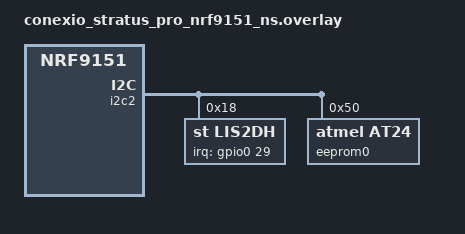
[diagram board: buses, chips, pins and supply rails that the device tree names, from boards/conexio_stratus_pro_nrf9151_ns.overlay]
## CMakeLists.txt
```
# Copyright (c) 2025 Conexio Technologies, Inc
# SPDX-License-Identifier: Apache-2.0

cmake_minimum_required(VERSION 3.20.0)
# Override BOARD_ROOT to always point at this SDK's boards/ directory.
# Using CACHE FORCE ensures this wins over any -DBOARD_ROOT passed by the IDE
# or build system, preventing "board defined multiple times" errors when
# multiple SDK versions are present in the environment.
set(BOARD_ROOT "${CMAKE_CURRENT_SOURCE_DIR}/../../.." CACHE PATH "" FORCE)

find_package(Zephyr HINTS $ENV{ZEPHYR_BASE})
project(i2c_read_write)

target_sources(app PRIVATE src/main.c)
```

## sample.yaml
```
# Copyright (c) 2025 Conexio Technologies, Inc
# SPDX-License-Identifier: Apache-2.0
sample:
  name: I2C Direct Read/Write

common:
  tags: i2c gpio

tests:
  samples.i2c_read_write:
    platform_allow: conexio_stratus_pro_nrf9151_ns
    harness: console
    harness_config:
      type: multi_line
      ordered: true
      regex:
        - "I2C read/write sample"
        - "I2C bus ready"
        - "LIS2DH WHO_AM_I.*0x33"
        - "EEPROM write/read.*PASSED"
```

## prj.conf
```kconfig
#
# Copyright (c) 2025 Conexio Technologies, Inc
#
# SPDX-License-Identifier: Apache-2.0
#

CONFIG_LOG=y
CONFIG_PRINTK=y
CONFIG_I2C=y
CONFIG_GPIO=y

# Enable Zephyr application to be booted by MCUboot
CONFIG_BOOTLOADER_MCUBOOT=y

# TF-M minimal profile (required when not using full TF-M PS/ITS/OTP storage)
CONFIG_TFM_PROFILE_TYPE_MINIMAL=y
```

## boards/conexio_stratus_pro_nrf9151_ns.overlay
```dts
/*
 * Copyright (c) 2025 Conexio Technologies, Inc.
 * Author: Rajeev Piyare <rajeev@conexiotech.com>
 *
 * SPDX-License-Identifier: Apache-2.0
 *
 * Board overlay for Conexio Stratus Pro (nRF9151, Non-Secure).
 *
 * Adds the LIS2DH accelerometer and 24CW160 EEPROM as child nodes of i2c2.
 * i2c2 is already enabled in the board DTSI (status = "okay") with pinctrl
 * and clock-frequency configured (SDA=P0.08, SCL=P0.07, 400 kHz).
 *
 * These nodes are required by I2C_DT_SPEC_GET(DT_NODELABEL(...)) in main.c.
 */


#include <samples/cellular/nrf91_bootloader_partitions.dtsi>
#include <samples/cellular/nrf91_sram_partitions.dtsi>

&i2c2 {
	lis2dh: lis2dh@18 {
		compatible = "st,lis2dh";
		reg = <0x18>;
		irq-gpios = <&gpio0 29 GPIO_ACTIVE_HIGH>;
	};

	eeprom0: eeprom@50 {
		/* Microchip 24CW160 — 2 KiB (16 kbit) EEPROM */
		compatible = "atmel,at24";
		reg = <0x50>;
		size = <DT_SIZE_K(2)>;
		pagesize = <32>;
		address-width = <16>;
		timeout = <5>;
	};
};
```

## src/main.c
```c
/*
 * Copyright (c) 2026 Conexio Technologies, Inc.
 * Author: Rajeev Piyare <rajeev@conexiotech.com>
 *
 * SPDX-License-Identifier: Apache-2.0
 *
 * I2C Direct Read/Write sample for Conexio Stratus Pro (nRF9151)
 *
 * This sample demonstrates the four fundamental I2C operations available
 * in the Zephyr I2C API using two real onboard devices on I2C2:
 *
 *   Bus:  I2C2  (SDA = P0.08, SCL = P0.07, 400 kHz fast mode)
 *
 *   Device 1 — ST LIS2DH accelerometer (address 0x18)
 *     Demonstrates: i2c_write_dt(), i2c_read_dt(), i2c_write_read_dt()
 *     Reads the WHO_AM_I register (0x0F) — always returns 0x33.
 *     Reads the STATUS_REG (0x27) to check for new data.
 *     Reads a burst of 6 raw accelerometer bytes (OUT_X_L..OUT_Z_H).
 *
 *   Device 2 — Microchip 24CW160 EEPROM (address 0x50)
 *     Demonstrates: i2c_write_dt(), i2c_read_dt()
 *     Writes a 4-byte pattern to address 0x0010 and reads it back.
 *
 * API summary (all functions return 0 on success, negative errno on error):
 *
 *   i2c_write_dt(spec, buf, len)
 *     Sends `len` bytes from `buf` to the device. First bytes are typically
 *     a register address followed by data.
 *
 *   i2c_read_dt(spec, buf, len)
 *     Reads `len` bytes from the device into `buf`. The device's internal
 *     pointer must already be positioned (use i2c_write_dt first, or use
 *     i2c_write_read_dt for a combined operation).
 *
 *   i2c_write_read_dt(spec, wbuf, wlen, rbuf, rlen)
 *     Sends `wlen` bytes (typically a register address), then immediately
 *     issues a repeated START and reads `rlen` bytes. This is the most
 *     common pattern for reading a specific register on any I2C sensor.
 *
 *   i2c_transfer_dt(spec, msgs, num_msgs)
 *     Low-level function for building custom multi-message transactions
 *     using struct i2c_msg. Use this when the helper functions above
 *     don't cover your use case.
 */

#include <zephyr/kernel.h>
#include <zephyr/device.h>
#include <zephyr/drivers/i2c.h>
#include <zephyr/sys/printk.h>
#include <zephyr/logging/log.h>
#include <string.h>

LOG_MODULE_REGISTER(i2c_rw, LOG_LEVEL_INF);

/* -----------------------------------------------------------------------
 * I2C bus and device addresses
 * ----------------------------------------------------------------------- */

/* I2C2 bus — defined in board DTSI as &i2c2 */
#define I2C_BUS_NODE   DT_NODELABEL(i2c2)

/* ST LIS2DH accelerometer — I2C address 0x18 */
#define LIS2DH_ADDR    0x18U

/* Microchip 24CW160 EEPROM — I2C address 0x50 */
#define EEPROM_ADDR    0x50U

/* -----------------------------------------------------------------------
 * LIS2DH register map (partial)
 * Datasheet: https://www.st.com/resource/en/datasheet/lis2dh.pdf
 * ----------------------------------------------------------------------- */
#define LIS2DH_WHO_AM_I   0x0FU   /* Identity register, always reads 0x33 */
#define LIS2DH_CTRL_REG1  0x20U   /* ODR and axis enable                   */
#define LIS2DH_STATUS_REG 0x27U   /* Data-ready flags                      */
#define LIS2DH_OUT_X_L    0x28U   /* First of 6 raw output bytes           */

/* WHO_AM_I expected value */
#define LIS2DH_WHO_AM_I_VAL 0x33U

/* CTRL_REG1: 10 Hz ODR, all axes enabled, normal power mode */
#define LIS2DH_CTRL_REG1_VAL 0x27U

/* OUT_X_L with MSB set — auto-increment address for burst read */
#define LIS2DH_OUT_X_L_AUTO  (LIS2DH_OUT_X_L | 0x80U)

/* -----------------------------------------------------------------------
 * EEPROM write address (2-byte addressing for 24CW160)
 * We use page 0, offset 0x10 — safely away from address 0x00.
 * ----------------------------------------------------------------------- */
#define EEPROM_TEST_ADDR_HI  0x00U
#define EEPROM_TEST_ADDR_LO  0x10U

static const struct i2c_dt_spec lis2dh = I2C_DT_SPEC_GET(DT_NODELABEL(lis2dh));
static const struct i2c_dt_spec eeprom  = I2C_DT_SPEC_GET(DT_NODELABEL(eeprom0));

/* -----------------------------------------------------------------------
 * Helper: print a buffer as hex
 * ----------------------------------------------------------------------- */
static void hex_dump(const char *label, const uint8_t *buf, size_t len)
{
	printk("%s:", label);
	for (size_t i = 0; i < len; i++) {
		printk(" %02X", buf[i]);
	}
	printk("\n");
}

/* -----------------------------------------------------------------------
 * Demo 1: i2c_write_read_dt — read a single register
 *
 * This is the most common I2C pattern: write the register address,
 * then read back the value in one combined transaction.
 * ----------------------------------------------------------------------- */
static int demo_read_register(void)
{
	uint8_t reg  = LIS2DH_WHO_AM_I;
	uint8_t val  = 0;

	int ret = i2c_write_read_dt(&lis2dh, &reg, sizeof(reg), &val, sizeof(val));

	if (ret < 0) {
		LOG_ERR("i2c_write_read_dt failed (err %d)", ret);
		return ret;
	}

	LOG_INF("LIS2DH WHO_AM_I = 0x%02X (expected 0x%02X) — %s",
		val, LIS2DH_WHO_AM_I_VAL,
		val == LIS2DH_WHO_AM_I_VAL ? "PASS" : "FAIL");

	return (val == LIS2DH_WHO_AM_I_VAL) ? 0 : -EIO;
}

/* -----------------------------------------------------------------------
 * Demo 2: i2c_write_dt — write a configuration register
 *
 * Enable the LIS2DH at 10 Hz with all axes active by writing CTRL_REG1.
 * This shows how to write a register address + value in one call.
 * ----------------------------------------------------------------------- */
static int demo_write_register(void)
{
	/* buf[0] = register address, buf[1] = value to write */
	uint8_t buf[2] = { LIS2DH_CTRL_REG1, LIS2DH_CTRL_REG1_VAL };

	int ret = i2c_write_dt(&lis2dh, buf, sizeof(buf));

	if (ret < 0) {
		LOG_ERR("i2c_write_dt CTRL_REG1 failed (err %d)", ret);
		return ret;
	}

	LOG_INF("LIS2DH CTRL_REG1 written (ODR=10Hz, XYZ enabled)");
	return 0;
}

/* -----------------------------------------------------------------------
 * Demo 3: i2c_write_read_dt — burst read multiple registers
 *
 * Read 6 consecutive output registers (OUT_X_L through OUT_Z_H) in one
 * transaction. The MSB of the register address enables auto-increment on
 * the LIS2DH so all 6 bytes are fetched in a single read.
 * ----------------------------------------------------------------------- */
static int demo_burst_read(void)
{
	uint8_t reg = LIS2DH_OUT_X_L_AUTO;
	uint8_t raw[6] = {0};

	/* Wait for data-ready: poll STATUS_REG bit 3 (ZYXDA) */
	uint8_t status_reg = LIS2DH_STATUS_REG;
	uint8_t status = 0;
	int retries = 20;

	do {
		int ret = i2c_write_read_dt(&lis2dh, &status_reg,
					    sizeof(status_reg), &status, sizeof(status));
		if (ret < 0) {
			LOG_ERR("STATUS_REG read failed (err %d)", ret);
			return ret;
		}
		if (status & BIT(3)) {
			break;
		}
		k_msleep(10);
	} while (--retries > 0);

	if (!(status & BIT(3))) {
		LOG_WRN("LIS2DH: data not ready after timeout, reading anyway");
	}

	int ret = i2c_write_read_dt(&lis2dh, &reg, sizeof(reg), raw, sizeof(raw));

	if (ret < 0) {
		LOG_ERR("Burst read failed (err %d)", ret);
		return ret;
	}

	/* Reconstruct 16-bit signed values (little-endian) */
	int16_t x = (int16_t)((raw[1] << 8) | raw[0]);
	int16_t y = (int16_t)((raw[3] << 8) | raw[2]);
	int16_t z = (int16_t)((raw[5] << 8) | raw[4]);

	LOG_INF("LIS2DH raw accel — X: %6d  Y: %6d  Z: %6d (LSB)", x, y, z);
	hex_dump("  raw bytes", raw, sizeof(raw));

	return 0;
}

/* -----------------------------------------------------------------------
 * Demo 4: i2c_write_dt + i2c_read_dt — EEPROM write then read back
 *
 * The 24CW160 uses 2-byte addressing. A write transaction is:
 *   [ADDR_HI, ADDR_LO, data0, data1, ...]
 * A read requires first writing the address, then reading separately.
 * This is the explicit two-step version — contrast with i2c_write_read_dt
 * which combines both into one transaction with a repeated START.
 * ----------------------------------------------------------------------- */
static int demo_eeprom_write_read(void)
{
	const uint8_t pattern[4] = { 0xDE, 0xAD, 0xBE, 0xEF };
	uint8_t readback[4]      = { 0 };

	/* --- Write: [addr_hi, addr_lo, data...] --- */
	uint8_t write_buf[2 + sizeof(pattern)];

	write_buf[0] = EEPROM_TEST_ADDR_HI;
	write_buf[1] = EEPROM_TEST_ADDR_LO;
	memcpy(&write_buf[2], pattern, sizeof(pattern));

	int ret = i2c_write_dt(&eeprom, write_buf, sizeof(write_buf));

	if (ret < 0) {
		LOG_ERR("EEPROM write failed (err %d)", ret);
		return ret;
	}

	hex_dump("EEPROM wrote", pattern, sizeof(pattern));

	/* 24CW160 write cycle time: 5 ms max */
	k_msleep(10);

	/* --- Seek: write just the address (positions internal pointer) --- */
	uint8_t addr_buf[2] = { EEPROM_TEST_ADDR_HI, EEPROM_TEST_ADDR_LO };

	ret = i2c_write_dt(&eeprom, addr_buf, sizeof(addr_buf));
	if (ret < 0) {
		LOG_ERR("EEPROM address seek failed (err %d)", ret);
		return ret;
	}

	/* --- Read back --- */
	ret = i2c_read_dt(&eeprom, readback, sizeof(readback));
	if (ret < 0) {
		LOG_ERR("EEPROM read failed (err %d)", ret);
		return ret;
	}

	hex_dump("EEPROM read ", readback, sizeof(readback));

	if (memcmp(pattern, readback, sizeof(pattern)) == 0) {
		LOG_INF("EEPROM write/read PASSED");
	} else {
		LOG_ERR("EEPROM write/read FAILED — data mismatch");
		return -EIO;
	}

	/* Clean up — zero the test location */
	uint8_t zero_buf[2 + sizeof(pattern)];

	zero_buf[0] = EEPROM_TEST_ADDR_HI;
	zero_buf[1] = EEPROM_TEST_ADDR_LO;
	memset(&zero_buf[2], 0x00, sizeof(pattern));
	i2c_write_dt(&eeprom, zero_buf, sizeof(zero_buf));
	k_msleep(10);

	return 0;
}

/* -----------------------------------------------------------------------
 * Demo 5: i2c_transfer_dt — low-level multi-message transaction
 *
 * Shows how to build a custom transaction with struct i2c_msg directly.
 * This is equivalent to i2c_write_read_dt but written explicitly so you
 * can see exactly what happens at the bus level.
 *
 * Transaction: WRITE(reg_addr) + RESTART + READ(1 byte)
 * ----------------------------------------------------------------------- */
static int demo_raw_transfer(void)
{
	uint8_t reg  = LIS2DH_WHO_AM_I;
	uint8_t val  = 0;

	struct i2c_msg msgs[2] = {
		{
			/* Message 0: write the register address */
			.buf   = &reg,
			.len   = 1,
			.flags = I2C_MSG_WRITE,
		},
		{
			/* Message 1: read the value (RESTART + STOP) */
			.buf   = &val,
			.len   = 1,
			.flags = I2C_MSG_RESTART | I2C_MSG_READ | I2C_MSG_STOP,
		},
	};

	int ret = i2c_transfer_dt(&lis2dh, msgs, ARRAY_SIZE(msgs));

	if (ret < 0) {
		LOG_ERR("i2c_transfer_dt failed (err %d)", ret);
		return ret;
	}

	LOG_INF("i2c_transfer_dt WHO_AM_I = 0x%02X (raw transfer — same result)", val);
	return 0;
}

/* -----------------------------------------------------------------------
 * main
 * ----------------------------------------------------------------------- */
int main(void)
{
	printk("I2C read/write sample running on %s\n", CONFIG_BOARD);

	/* Validate I2C bus */
	if (!i2c_is_ready_dt(&lis2dh)) {
		LOG_ERR("I2C bus not ready");
		return -ENODEV;
	}
	LOG_INF("I2C bus ready (SDA=P0.08, SCL=P0.07, 400 kHz)");

	int err = 0;

	/* --- Demo 1: Read a register with i2c_write_read_dt --- */
	LOG_INF("--- Demo 1: i2c_write_read_dt (read WHO_AM_I) ---");
	err = demo_read_register();
	if (err) {
		LOG_ERR("Demo 1 failed");
	}

	/* --- Demo 2: Write a register with i2c_write_dt --- */
	LOG_INF("--- Demo 2: i2c_write_dt (configure LIS2DH) ---");
	err = demo_write_register();
	if (err) {
		LOG_ERR("Demo 2 failed");
	}

	/* Allow the sensor to take its first sample after being enabled */
	k_msleep(200);

	/* --- Demo 3: Burst read with i2c_write_read_dt --- */
	LOG_INF("--- Demo 3: i2c_write_read_dt burst (6-byte accel data) ---");
	err = demo_burst_read();
	if (err) {
		LOG_ERR("Demo 3 failed");
	}

	/* --- Demo 4: EEPROM write then read with i2c_write_dt / i2c_read_dt --- */
	LOG_INF("--- Demo 4: i2c_write_dt + i2c_read_dt (EEPROM) ---");
	err = demo_eeprom_write_read();
	if (err) {
		LOG_ERR("Demo 4 failed");
	}

	/* --- Demo 5: Raw multi-message transfer with i2c_transfer_dt --- */
	LOG_INF("--- Demo 5: i2c_transfer_dt (raw struct i2c_msg) ---");
	err = demo_raw_transfer();
	if (err) {
		LOG_ERR("Demo 5 failed");
	}

	LOG_INF("I2C sample complete");
	return 0;
}
```
